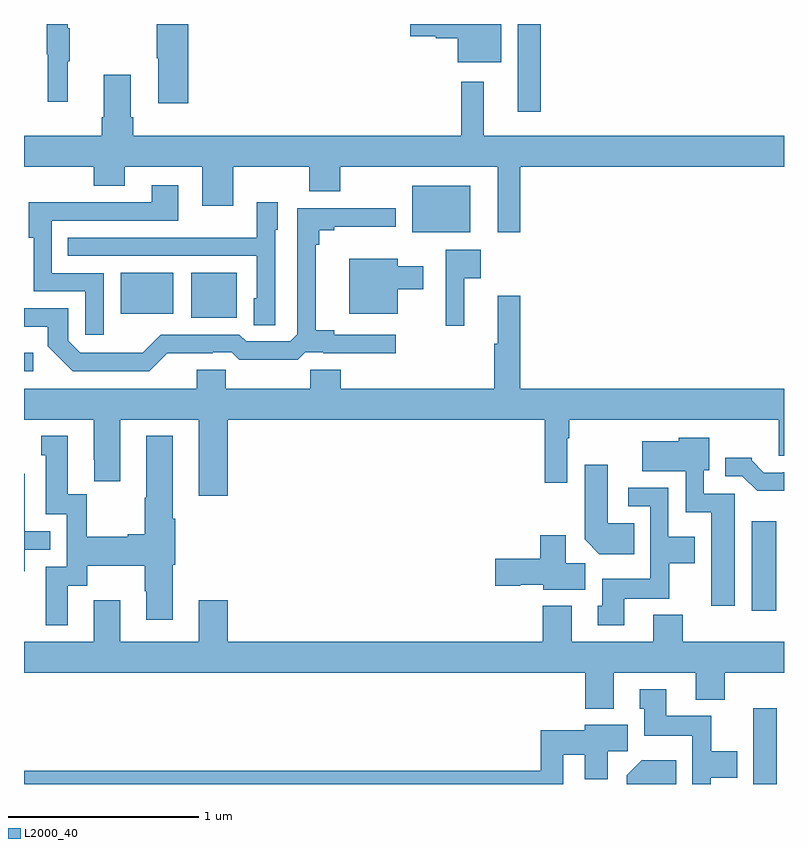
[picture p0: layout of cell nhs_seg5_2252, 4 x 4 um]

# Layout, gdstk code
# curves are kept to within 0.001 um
import gdstk
lib = gdstk.Library(unit=1e-6, precision=1e-09)
def R(c, l, rs):  # rectangles x0, y0, x1, y1
    for r in rs: c.add(gdstk.rectangle(r[:2], r[2:], *l))
def P(c, l, *ps):  # polygons
    for p in ps: c.add(gdstk.Polygon(p, *l))
L2000_40 = (2000, 40)

nhs_seg5_2252 = lib.new_cell('nhs_seg5_2252')
R(nhs_seg5_2252, L2000_40, [(244.838,898.799,244.963,899.197), (244.829,899.712,244.96,900.181), (241,900.972,241.048,901.069), (241.88,901.253,242.119,901.489), (241.508,901.274,241.786,901.489), (243.044,901.703,243.349,901.948), (243.599,902.337,243.721,902.799)])
P(nhs_seg5_2252, L2000_40, [(241.229,902.603),(241.24,902.603),(241.24,902.777),(241.229,902.777),(241.229,902.799),(241.119,902.799),(241.119,902.64),(241.126,902.64),(241.126,902.391),(241.229,902.391)],
  [(241.865,902.799),(241.699,902.799),(241.699,902.62),(241.706,902.62),(241.706,902.382),(241.865,902.382)],
  [(243.511,902.799),(243.032,902.799),(243.032,902.735),(243.168,902.735),(243.168,902.723),(243.284,902.723),(243.284,902.597),(243.511,902.597)],
  [(243.611,902.048),(245,902.048),(245,902.212),(243.421,902.212),(243.421,902.494),(243.3,902.494),(243.3,902.212),(241.574,902.212),(241.574,902.308),(241.561,902.308),(241.561,902.533),(241.421,902.533),(241.421,902.308),(241.409,902.308),(241.409,902.212),(241,902.212),(241,902.048),(241.367,902.048),(241.367,901.949),(241.531,901.949),(241.531,902.048),(241.937,902.048),(241.937,901.842),(242.101,901.842),(242.101,902.048),(242.501,902.048),(242.501,901.92),(242.665,901.92),(242.665,902.048),(243.494,902.048),(243.494,901.704),(243.611,901.704)],
  [(241.419,901.488),(241.146,901.488),(241.146,901.764),(241.813,901.764),(241.813,901.951),(241.673,901.951),(241.673,901.86),(241.243,901.86),(241.243,901.862),(241.025,901.862),(241.025,901.674),(241.05,901.674),(241.05,901.392),(241.323,901.392),(241.323,901.164),(241.419,901.164)],
  [(242.322,901.716),(242.335,901.716),(242.335,901.861),(242.226,901.861),(242.226,901.675),(241.909,901.675),(241.909,901.674),(241.231,901.674),(241.231,901.578),(242.226,901.578),(242.226,901.356),(242.21,901.356),(242.21,901.213),(242.322,901.213)],
  [(241.754,901.067),(241.994,901.067),(241.994,901.071),(242.094,901.071),(242.134,901.032),(242.441,901.032),(242.481,901.071),(242.575,901.071),(242.575,901.067),(242.956,901.067),(242.956,901.164),(242.632,901.164),(242.632,901.187),(242.536,901.187),(242.536,901.637),(242.555,901.637),(242.555,901.714),(242.632,901.714),(242.632,901.733),(242.956,901.733),(242.956,901.83),(242.439,901.83),(242.439,901.167),(242.4,901.128),(242.169,901.128),(242.133,901.164),(241.719,901.164),(241.625,901.07),(241.52,901.07),(241.52,901.068),(241.296,901.068),(241.233,901.131),(241.233,901.302),(241,901.302),(241,901.205),(241.126,901.205),(241.126,901.103),(241.256,900.972),(241.659,900.972)],
  [(243.317,901.46),(243.403,901.46),(243.403,901.612),(243.219,901.612),(243.219,901.212),(243.317,901.212)],
  [(242.968,901.403),(243.1,901.403),(243.1,901.525),(242.968,901.525),(242.968,901.564),(242.711,901.564),(242.711,901.274),(242.968,901.274)],
  [(242.072,900.716),(243.742,900.716),(243.742,900.384),(243.858,900.384),(243.858,900.62),(243.871,900.62),(243.871,900.716),(244.973,900.716),(244.973,900.526),(245,900.526),(245,900.88),(243.611,900.88),(243.611,901.369),(243.494,901.369),(243.494,901.116),(243.475,901.116),(243.475,900.88),(242.666,900.88),(242.666,900.978),(242.506,900.978),(242.506,900.88),(242.061,900.88),(242.061,900.978),(241.91,900.978),(241.91,900.88),(241,900.88),(241,900.716),(241.367,900.716),(241.367,900.505),(241.37,900.505),(241.37,900.393),(241.507,900.393),(241.507,900.716),(241.919,900.716),(241.919,900.315),(242.072,900.315)],
  [(241.231,899.842),(241.333,899.842),(241.333,899.948),(241.636,899.948),(241.636,899.814),(241.643,899.814),(241.643,899.664),(241.783,899.664),(241.783,899.952),(241.796,899.952),(241.796,900.196),(241.783,900.196),(241.783,900.631),(241.643,900.631),(241.643,900.305),(241.636,900.305),(241.636,900.113),(241.547,900.113),(241.547,900.1),(241.329,900.1),(241.329,900.323),(241.231,900.323),(241.231,900.631),(241.091,900.631),(241.091,900.528),(241.115,900.528),(241.115,900.219),(241.224,900.219),(241.224,899.943),(241.115,899.943),(241.115,899.634),(241.231,899.634)],
  [(244.741,900.327),(244.578,900.327),(244.578,900.45),(244.606,900.45),(244.606,900.622),(244.446,900.622),(244.446,900.604),(244.254,900.604),(244.254,900.446),(244.482,900.446),(244.482,900.23),(244.616,900.23),(244.616,899.736),(244.741,899.736)],
  [(245,900.441),(244.993,900.441),(244.993,900.438),(244.894,900.438),(244.83,900.502),(244.83,900.517),(244.691,900.517),(244.691,900.42),(244.779,900.42),(244.858,900.342),(245,900.342)],
  [(244.211,900.172),(244.072,900.172),(244.072,900.478),(243.95,900.478),(243.95,900.086),(244.028,900.008),(244.211,900.008)],
  [(241.005,900.033),(241.139,900.033),(241.139,900.129),(241.005,900.129),(241.005,900.432),(241,900.432),(241,899.919),(241.005,899.919)],
  [(244.159,899.774),(244.395,899.774),(244.395,899.96),(244.531,899.96),(244.531,900.1),(244.392,900.1),(244.392,900.357),(244.179,900.357),(244.179,900.261),(244.296,900.261),(244.296,899.878),(244.043,899.878),(244.043,899.736),(244.019,899.736),(244.019,899.634),(244.159,899.634)],
  [(243.955,899.96),(243.85,899.96),(243.85,900.109),(243.716,900.109),(243.716,899.984),(243.48,899.984),(243.48,899.842),(243.612,899.842),(243.612,899.849),(243.732,899.849),(243.732,899.822),(243.955,899.822)],
  [(244.466,899.689),(244.313,899.689),(244.313,899.548),(243.883,899.548),(243.883,899.737),(243.731,899.737),(243.731,899.548),(242.072,899.548),(242.072,899.767),(241.919,899.767),(241.919,899.548),(241.507,899.548),(241.507,899.767),(241.367,899.767),(241.367,899.548),(241,899.548),(241,899.384),(243.953,899.384),(243.953,899.195),(244.105,899.195),(244.105,899.384),(244.535,899.384),(244.535,899.243),(244.688,899.243),(244.688,899.384),(245,899.384),(245,899.548),(244.466,899.548)],
  [(244.614,898.832),(244.753,898.832),(244.753,898.972),(244.617,898.972),(244.617,899.158),(244.381,899.158),(244.381,899.299),(244.241,899.299),(244.241,899.196),(244.265,899.196),(244.265,899.054),(244.518,899.054),(244.518,898.799),(244.614,898.799)],
  [(243.837,898.954),(243.95,898.954),(243.95,898.824),(244.072,898.824),(244.072,898.972),(244.177,898.972),(244.177,899.11),(243.95,899.11),(243.95,899.083),(243.721,899.083),(243.721,898.868),(241,898.868),(241,898.799),(243.837,898.799)],
  [(244.433,898.924),(244.25,898.924),(244.172,898.846),(244.172,898.799),(244.433,898.799)])

lib.write_gds('nhs_seg5_2252.gds')
